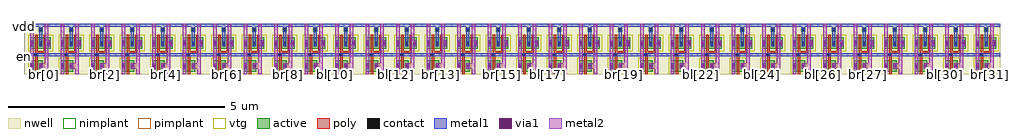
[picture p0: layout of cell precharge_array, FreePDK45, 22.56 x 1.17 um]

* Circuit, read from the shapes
.subckt precharge_array bl[0] bl[10] bl[11] bl[12] bl[13] bl[14] bl[15] bl[16] bl[17] bl[18] bl[19] bl[1] bl[20] bl[21] bl[22] bl[23] bl[24] bl[25] bl[26] bl[27] bl[28] bl[29] bl[2] bl[30] bl[31] bl[3] bl[4] bl[5] bl[6] bl[7] bl[8] bl[9] br[0] br[10] br[11] br[12] br[13] br[14] br[15] br[16] br[17] br[18] br[19] br[1] br[20] br[21] br[22] br[23] br[24] br[25] br[26] br[27] br[28] br[29] br[2] br[30] br[31] br[3] br[4] br[5] br[6] br[7] br[8] br[9] en vdd
M1 br[0] en bl[0] vdd pfet w=0.27u l=0.05u
M2 vdd en bl[0] vdd pfet w=0.27u l=0.05u
M3 br[0] en vdd vdd pfet w=0.27u l=0.05u
M4 br[1] en bl[1] vdd pfet w=0.27u l=0.05u
M5 vdd en bl[1] vdd pfet w=0.27u l=0.05u
M6 br[1] en vdd vdd pfet w=0.27u l=0.05u
M7 br[2] en bl[2] vdd pfet w=0.27u l=0.05u
M8 vdd en bl[2] vdd pfet w=0.27u l=0.05u
M9 br[2] en vdd vdd pfet w=0.27u l=0.05u
M10 br[3] en bl[3] vdd pfet w=0.27u l=0.05u
M11 vdd en bl[3] vdd pfet w=0.27u l=0.05u
M12 br[3] en vdd vdd pfet w=0.27u l=0.05u
M13 br[4] en bl[4] vdd pfet w=0.27u l=0.05u
M14 vdd en bl[4] vdd pfet w=0.27u l=0.05u
M15 br[4] en vdd vdd pfet w=0.27u l=0.05u
M16 br[5] en bl[5] vdd pfet w=0.27u l=0.05u
M17 vdd en bl[5] vdd pfet w=0.27u l=0.05u
M18 br[5] en vdd vdd pfet w=0.27u l=0.05u
M19 br[6] en bl[6] vdd pfet w=0.27u l=0.05u
M20 vdd en bl[6] vdd pfet w=0.27u l=0.05u
M21 br[6] en vdd vdd pfet w=0.27u l=0.05u
M22 br[7] en bl[7] vdd pfet w=0.27u l=0.05u
M23 vdd en bl[7] vdd pfet w=0.27u l=0.05u
M24 br[7] en vdd vdd pfet w=0.27u l=0.05u
M25 br[8] en bl[8] vdd pfet w=0.27u l=0.05u
M26 vdd en bl[8] vdd pfet w=0.27u l=0.05u
M27 br[8] en vdd vdd pfet w=0.27u l=0.05u
M28 br[9] en bl[9] vdd pfet w=0.27u l=0.05u
M29 vdd en bl[9] vdd pfet w=0.27u l=0.05u
M30 br[9] en vdd vdd pfet w=0.27u l=0.05u
M31 br[10] en bl[10] vdd pfet w=0.27u l=0.05u
M32 vdd en bl[10] vdd pfet w=0.27u l=0.05u
M33 br[10] en vdd vdd pfet w=0.27u l=0.05u
M34 br[11] en bl[11] vdd pfet w=0.27u l=0.05u
M35 vdd en bl[11] vdd pfet w=0.27u l=0.05u
M36 br[11] en vdd vdd pfet w=0.27u l=0.05u
M37 br[12] en bl[12] vdd pfet w=0.27u l=0.05u
M38 vdd en bl[12] vdd pfet w=0.27u l=0.05u
M39 br[12] en vdd vdd pfet w=0.27u l=0.05u
M40 br[13] en bl[13] vdd pfet w=0.27u l=0.05u
M41 vdd en bl[13] vdd pfet w=0.27u l=0.05u
M42 br[13] en vdd vdd pfet w=0.27u l=0.05u
M43 br[14] en bl[14] vdd pfet w=0.27u l=0.05u
M44 vdd en bl[14] vdd pfet w=0.27u l=0.05u
M45 br[14] en vdd vdd pfet w=0.27u l=0.05u
M46 br[15] en bl[15] vdd pfet w=0.27u l=0.05u
M47 vdd en bl[15] vdd pfet w=0.27u l=0.05u
M48 br[15] en vdd vdd pfet w=0.27u l=0.05u
M49 br[16] en bl[16] vdd pfet w=0.27u l=0.05u
M50 vdd en bl[16] vdd pfet w=0.27u l=0.05u
M51 br[16] en vdd vdd pfet w=0.27u l=0.05u
M52 br[17] en bl[17] vdd pfet w=0.27u l=0.05u
M53 vdd en bl[17] vdd pfet w=0.27u l=0.05u
M54 br[17] en vdd vdd pfet w=0.27u l=0.05u
M55 br[18] en bl[18] vdd pfet w=0.27u l=0.05u
M56 vdd en bl[18] vdd pfet w=0.27u l=0.05u
M57 br[18] en vdd vdd pfet w=0.27u l=0.05u
M58 br[19] en bl[19] vdd pfet w=0.27u l=0.05u
M59 vdd en bl[19] vdd pfet w=0.27u l=0.05u
M60 br[19] en vdd vdd pfet w=0.27u l=0.05u
M61 br[20] en bl[20] vdd pfet w=0.27u l=0.05u
M62 vdd en bl[20] vdd pfet w=0.27u l=0.05u
M63 br[20] en vdd vdd pfet w=0.27u l=0.05u
M64 br[21] en bl[21] vdd pfet w=0.27u l=0.05u
M65 vdd en bl[21] vdd pfet w=0.27u l=0.05u
M66 br[21] en vdd vdd pfet w=0.27u l=0.05u
M67 br[22] en bl[22] vdd pfet w=0.27u l=0.05u
M68 vdd en bl[22] vdd pfet w=0.27u l=0.05u
M69 br[22] en vdd vdd pfet w=0.27u l=0.05u
M70 br[23] en bl[23] vdd pfet w=0.27u l=0.05u
M71 vdd en bl[23] vdd pfet w=0.27u l=0.05u
M72 br[23] en vdd vdd pfet w=0.27u l=0.05u
M73 br[24] en bl[24] vdd pfet w=0.27u l=0.05u
M74 vdd en bl[24] vdd pfet w=0.27u l=0.05u
M75 br[24] en vdd vdd pfet w=0.27u l=0.05u
M76 br[25] en bl[25] vdd pfet w=0.27u l=0.05u
M77 vdd en bl[25] vdd pfet w=0.27u l=0.05u
M78 br[25] en vdd vdd pfet w=0.27u l=0.05u
M79 br[26] en bl[26] vdd pfet w=0.27u l=0.05u
M80 vdd en bl[26] vdd pfet w=0.27u l=0.05u
M81 br[26] en vdd vdd pfet w=0.27u l=0.05u
M82 br[27] en bl[27] vdd pfet w=0.27u l=0.05u
M83 vdd en bl[27] vdd pfet w=0.27u l=0.05u
M84 br[27] en vdd vdd pfet w=0.27u l=0.05u
M85 br[28] en bl[28] vdd pfet w=0.27u l=0.05u
M86 vdd en bl[28] vdd pfet w=0.27u l=0.05u
M87 br[28] en vdd vdd pfet w=0.27u l=0.05u
M88 br[29] en bl[29] vdd pfet w=0.27u l=0.05u
M89 vdd en bl[29] vdd pfet w=0.27u l=0.05u
M90 br[29] en vdd vdd pfet w=0.27u l=0.05u
M91 br[30] en bl[30] vdd pfet w=0.27u l=0.05u
M92 vdd en bl[30] vdd pfet w=0.27u l=0.05u
M93 br[30] en vdd vdd pfet w=0.27u l=0.05u
M94 br[31] en bl[31] vdd pfet w=0.27u l=0.05u
M95 vdd en bl[31] vdd pfet w=0.27u l=0.05u
M96 br[31] en vdd vdd pfet w=0.27u l=0.05u
.ends

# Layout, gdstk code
from math import pi, radians
import gdstk
lib = gdstk.Library(unit=1e-6, precision=5e-10)
def R(c, l, rs):  # rectangles x0, y0, x1, y1
    for r in rs: c.add(gdstk.rectangle(r[:2], r[2:], *l))
active = (1, 0)
nwell = (3, 0)
nimplant = (4, 0)
pimplant = (5, 0)
vtg = (6, 0)
poly = (9, 0)
contact = (10, 0)
metal1 = (11, 0)
via1 = (12, 0)
metal2 = (13, 0)

active_contact_metal1_1x = lib.new_cell('active_contact_metal1_1x1_pn')
R(active_contact_metal1_1x, active, [(0,0.0225,0.09,0.1125), (0,0.0225,0.09,0.1125)])
R(active_contact_metal1_1x, nwell, [(-0.055,-0.0325,0.145,0.1675), (-0.055,-0.0325,0.145,0.1675)])
R(active_contact_metal1_1x, pimplant, [(0,0.0225,0.09,0.1125), (0,0.0225,0.09,0.1125)])
R(active_contact_metal1_1x, contact, [(0.0125,0.035,0.0775,0.1), (0.0125,0.035,0.0775,0.1)])
R(active_contact_metal1_1x, metal1, [(0.0125,0,0.0775,0.135), (0.0125,0,0.0775,0.135)])

pmos_m1_w0_27 = lib.new_cell('pmos_m1_w0_27')
R(pmos_m1_w0_27, active, [(0,0,0.28,0.27), (0,0,0.28,0.27)])
R(pmos_m1_w0_27, nwell, [(-0.055,-0.055,0.335,0.325), (-0.055,-0.055,0.335,0.325)])
R(pmos_m1_w0_27, pimplant, [(0,0,0.28,0.27), (0,0,0.28,0.27)])
R(pmos_m1_w0_27, vtg, [(-0.055,-0.055,0.335,0.325), (-0.055,-0.055,0.335,0.325)])
R(pmos_m1_w0_27, poly, [(0.115,-0.055,0.165,0.325), (0.115,-0.055,0.165,0.325), (0.115,-0.055,0.165,0.325), (0.115,-0.055,0.165,0.325)])
R(pmos_m1_w0_27, metal1, [(0.0125,0.0675,0.0775,0.2025), (0.0125,0.0675,0.0775,0.2025), (0.2025,0.0675,0.2675,0.2025), (0.2025,0.0675,0.2675,0.2025)])
pmos_m1_w0_27.add(gdstk.Reference(active_contact_metal1_1x, (0,0.0675)))
pmos_m1_w0_27.add(gdstk.Reference(active_contact_metal1_1x, (0.19,0.0675)))
pmos_m1_w0_27.add(gdstk.Reference(active_contact_metal1_1x, (0,0.0675)))
pmos_m1_w0_27.add(gdstk.Reference(active_contact_metal1_1x, (0.19,0.0675)))
pmos_m1_w0_27.add(gdstk.Label('S', (0.0125,0.0675), layer=11, texttype=0))
pmos_m1_w0_27.add(gdstk.Label('D', (0.2025,0.0675), layer=11, texttype=0))
pmos_m1_w0_27.add(gdstk.Label('G', (0.115,-0.055), layer=9, texttype=0))
pmos_m1_w0_27.add(gdstk.Label('S', (0.0125,0.0675), layer=11, texttype=0))
pmos_m1_w0_27.add(gdstk.Label('D', (0.2025,0.0675), layer=11, texttype=0))
pmos_m1_w0_27.add(gdstk.Label('G', (0.115,-0.055), layer=9, texttype=0))

poly_contact_metal1_1x1 = lib.new_cell('poly_contact_metal1_1x1')
R(poly_contact_metal1_1x1, poly, [(0,0.03,0.075,0.105), (0,0.03,0.075,0.105)])
R(poly_contact_metal1_1x1, contact, [(0.005,0.035,0.07,0.1), (0.005,0.035,0.07,0.1)])
R(poly_contact_metal1_1x1, metal1, [(0.005,0,0.07,0.135), (0.005,0,0.07,0.135)])

c_active_contact_metal1_1x = lib.new_cell('active_contact_metal1_1x1_nn')
R(c_active_contact_metal1_1x, active, [(0,0.0225,0.09,0.1125), (0,0.0225,0.09,0.1125)])
R(c_active_contact_metal1_1x, nwell, [(-0.055,-0.0325,0.145,0.1675), (-0.055,-0.0325,0.145,0.1675)])
R(c_active_contact_metal1_1x, nimplant, [(0,0.0225,0.09,0.1125), (0,0.0225,0.09,0.1125)])
R(c_active_contact_metal1_1x, contact, [(0.0125,0.035,0.0775,0.1), (0.0125,0.035,0.0775,0.1)])
R(c_active_contact_metal1_1x, metal1, [(0.0125,0,0.0775,0.135), (0.0125,0,0.0775,0.135)])

metal1_via1_metal2_1x1 = lib.new_cell('metal1_via1_metal2_1x1')
R(metal1_via1_metal2_1x1, metal1, [(0.0025,0,0.0675,0.135), (0.0025,0,0.0675,0.135)])
R(metal1_via1_metal2_1x1, via1, [(0.0025,0.035,0.0675,0.1), (0.0025,0.035,0.0675,0.1)])
R(metal1_via1_metal2_1x1, metal2, [(0,0,0.07,0.135), (0,0,0.07,0.135)])

precharge = lib.new_cell('precharge')
R(precharge, nwell, [(0,0,0.705,1.1675), (0,0,0.705,1.1675)])
R(precharge, poly, [(0.265,0,0.315,0.53), (0.265,0,0.315,0.53), (0.265,0.48,0.505,0.53), (0.265,0.48,0.505,0.53)])
R(precharge, metal1, [(0,0.4175,0.705,0.4825), (0,0.4175,0.705,0.4825), (0.3525,0.6525,0.4175,1.1675), (0.3525,0.6525,0.4175,1.1675), (0,1.1025,0.705,1.1675), (0,1.1025,0.705,1.1675)])
R(precharge, metal2, [(0.15,0,0.22,1.1675), (0.15,0,0.22,1.1675), (0.485,0,0.555,1.1675), (0.485,0,0.555,1.1675), (0.15,0.1225,0.2275,0.2575), (0.15,0.1225,0.2275,0.2575), (0.3525,0.1225,0.555,0.2575), (0.3525,0.1225,0.555,0.2575), (0.15,0.6525,0.2275,0.7875), (0.15,0.6525,0.2275,0.7875), (0.485,0.6525,0.6075,0.7875), (0.485,0.6525,0.6075,0.7875)])
precharge.add(gdstk.Reference(pmos_m1_w0_27, (0.15,0.055)))
precharge.add(gdstk.Reference(pmos_m1_w0_27, (0.15,0.585)))
precharge.add(gdstk.Reference(pmos_m1_w0_27, (0.34,0.585)))
precharge.add(gdstk.Reference(poly_contact_metal1_1x1, (0.3325,0.4125), rotation=pi/2))
precharge.add(gdstk.Reference(c_active_contact_metal1_1x, (0.34,0.965)))
precharge.add(gdstk.Reference(metal1_via1_metal2_1x1, (0.16,0.1225)))
precharge.add(gdstk.Reference(metal1_via1_metal2_1x1, (0.35,0.1225)))
precharge.add(gdstk.Reference(metal1_via1_metal2_1x1, (0.16,0.6525)))
precharge.add(gdstk.Reference(metal1_via1_metal2_1x1, (0.54,0.6525)))
precharge.add(gdstk.Reference(pmos_m1_w0_27, (0.15,0.055)))
precharge.add(gdstk.Reference(pmos_m1_w0_27, (0.15,0.585)))
precharge.add(gdstk.Reference(pmos_m1_w0_27, (0.34,0.585)))
precharge.add(gdstk.Reference(poly_contact_metal1_1x1, (0.3325,0.4125), rotation=pi/2))
precharge.add(gdstk.Reference(c_active_contact_metal1_1x, (0.34,0.965)))
precharge.add(gdstk.Reference(metal1_via1_metal2_1x1, (0.16,0.1225)))
precharge.add(gdstk.Reference(metal1_via1_metal2_1x1, (0.35,0.1225)))
precharge.add(gdstk.Reference(metal1_via1_metal2_1x1, (0.16,0.6525)))
precharge.add(gdstk.Reference(metal1_via1_metal2_1x1, (0.54,0.6525)))
precharge.add(gdstk.Label('bl', (0.15,0), layer=13, texttype=0))
precharge.add(gdstk.Label('en', (0,0.4175), layer=11, texttype=0))
precharge.add(gdstk.Label('vdd', (0,1.1025), layer=11, texttype=0))
precharge.add(gdstk.Label('br', (0.485,0), layer=13, texttype=0))
precharge.add(gdstk.Label('bl', (0.15,0), layer=13, texttype=0))
precharge.add(gdstk.Label('en', (0,0.4175), layer=11, texttype=0))
precharge.add(gdstk.Label('vdd', (0,1.1025), layer=11, texttype=0))
precharge.add(gdstk.Label('br', (0.485,0), layer=13, texttype=0))

precharge_array = lib.new_cell('precharge_array')
R(precharge_array, metal1, [(0,0.4175,22.56,0.4825), (0,0.4175,22.56,0.4825), (0,1.1025,22.56,1.1675), (0,1.1025,22.56,1.1675)])
R(precharge_array, metal2, [(0.15,0,0.22,1.1675), (0.15,0,0.22,1.1675), (0.485,0,0.555,1.1675), (0.485,0,0.555,1.1675), (0.855,0,0.925,1.1675), (0.855,0,0.925,1.1675), (1.19,0,1.26,1.1675), (1.19,0,1.26,1.1675), (1.56,0,1.63,1.1675), (1.56,0,1.63,1.1675), (1.895,0,1.965,1.1675), (1.895,0,1.965,1.1675), (2.265,0,2.335,1.1675), (2.265,0,2.335,1.1675), (2.6,0,2.67,1.1675), (2.6,0,2.67,1.1675), (2.97,0,3.04,1.1675), (2.97,0,3.04,1.1675), (3.305,0,3.375,1.1675), (3.305,0,3.375,1.1675), (3.675,0,3.745,1.1675), (3.675,0,3.745,1.1675), (4.01,0,4.08,1.1675), (4.01,0,4.08,1.1675), (4.38,0,4.45,1.1675), (4.38,0,4.45,1.1675), (4.715,0,4.785,1.1675), (4.715,0,4.785,1.1675), (5.085,0,5.155,1.1675), (5.085,0,5.155,1.1675), (5.42,0,5.49,1.1675), (5.42,0,5.49,1.1675), (5.79,0,5.86,1.1675), (5.79,0,5.86,1.1675), (6.125,0,6.195,1.1675), (6.125,0,6.195,1.1675), (6.495,0,6.565,1.1675), (6.495,0,6.565,1.1675), (6.83,0,6.9,1.1675), (6.83,0,6.9,1.1675), (7.2,0,7.27,1.1675), (7.2,0,7.27,1.1675), (7.535,0,7.605,1.1675), (7.535,0,7.605,1.1675), (7.905,0,7.975,1.1675), (7.905,0,7.975,1.1675), (8.24,0,8.31,1.1675), (8.24,0,8.31,1.1675), (8.61,0,8.68,1.1675), (8.61,0,8.68,1.1675), (8.945,0,9.015,1.1675), (8.945,0,9.015,1.1675), (9.315,0,9.385,1.1675), (9.315,0,9.385,1.1675), (9.65,0,9.72,1.1675), (9.65,0,9.72,1.1675), (10.02,0,10.09,1.1675), (10.02,0,10.09,1.1675), (10.355,0,10.425,1.1675), (10.355,0,10.425,1.1675), (10.725,0,10.795,1.1675), (10.725,0,10.795,1.1675), (11.06,0,11.13,1.1675), (11.06,0,11.13,1.1675), (11.43,0,11.5,1.1675), (11.43,0,11.5,1.1675), (11.765,0,11.835,1.1675), (11.765,0,11.835,1.1675), (12.135,0,12.205,1.1675), (12.135,0,12.205,1.1675), (12.47,0,12.54,1.1675), (12.47,0,12.54,1.1675), (12.84,0,12.91,1.1675), (12.84,0,12.91,1.1675), (13.175,0,13.245,1.1675), (13.175,0,13.245,1.1675), (13.545,0,13.615,1.1675), (13.545,0,13.615,1.1675), (13.88,0,13.95,1.1675), (13.88,0,13.95,1.1675), (14.25,0,14.32,1.1675), (14.25,0,14.32,1.1675), (14.585,0,14.655,1.1675), (14.585,0,14.655,1.1675), (14.955,0,15.025,1.1675), (14.955,0,15.025,1.1675), (15.29,0,15.36,1.1675), (15.29,0,15.36,1.1675), (15.66,0,15.73,1.1675), (15.66,0,15.73,1.1675), (15.995,0,16.065,1.1675), (15.995,0,16.065,1.1675), (16.365,0,16.435,1.1675), (16.365,0,16.435,1.1675), (16.7,0,16.77,1.1675), (16.7,0,16.77,1.1675), (17.07,0,17.14,1.1675), (17.07,0,17.14,1.1675), (17.405,0,17.475,1.1675), (17.405,0,17.475,1.1675), (17.775,0,17.845,1.1675), (17.775,0,17.845,1.1675), (18.11,0,18.18,1.1675), (18.11,0,18.18,1.1675), (18.48,0,18.55,1.1675), (18.48,0,18.55,1.1675), (18.815,0,18.885,1.1675), (18.815,0,18.885,1.1675), (19.185,0,19.255,1.1675), (19.185,0,19.255,1.1675), (19.52,0,19.59,1.1675), (19.52,0,19.59,1.1675), (19.89,0,19.96,1.1675), (19.89,0,19.96,1.1675), (20.225,0,20.295,1.1675), (20.225,0,20.295,1.1675), (20.595,0,20.665,1.1675), (20.595,0,20.665,1.1675), (20.93,0,21,1.1675), (20.93,0,21,1.1675), (21.3,0,21.37,1.1675), (21.3,0,21.37,1.1675), (21.635,0,21.705,1.1675), (21.635,0,21.705,1.1675), (22.005,0,22.075,1.1675), (22.005,0,22.075,1.1675), (22.34,0,22.41,1.1675), (22.34,0,22.41,1.1675)])
precharge_array.add(gdstk.Reference(precharge, (0,0)))
precharge_array.add(gdstk.Reference(precharge, (0.705,0)))
precharge_array.add(gdstk.Reference(precharge, (1.41,0)))
precharge_array.add(gdstk.Reference(precharge, (2.115,0)))
precharge_array.add(gdstk.Reference(precharge, (2.82,0)))
precharge_array.add(gdstk.Reference(precharge, (3.525,0)))
precharge_array.add(gdstk.Reference(precharge, (4.23,0)))
precharge_array.add(gdstk.Reference(precharge, (4.935,0)))
precharge_array.add(gdstk.Reference(precharge, (5.64,0)))
precharge_array.add(gdstk.Reference(precharge, (6.345,0)))
precharge_array.add(gdstk.Reference(precharge, (7.05,0)))
precharge_array.add(gdstk.Reference(precharge, (7.755,0)))
precharge_array.add(gdstk.Reference(precharge, (8.46,0)))
precharge_array.add(gdstk.Reference(precharge, (9.165,0)))
precharge_array.add(gdstk.Reference(precharge, (9.87,0)))
precharge_array.add(gdstk.Reference(precharge, (10.575,0)))
precharge_array.add(gdstk.Reference(precharge, (11.28,0)))
precharge_array.add(gdstk.Reference(precharge, (11.985,0)))
precharge_array.add(gdstk.Reference(precharge, (12.69,0)))
precharge_array.add(gdstk.Reference(precharge, (13.395,0)))
precharge_array.add(gdstk.Reference(precharge, (14.1,0)))
precharge_array.add(gdstk.Reference(precharge, (14.805,0)))
precharge_array.add(gdstk.Reference(precharge, (15.51,0)))
precharge_array.add(gdstk.Reference(precharge, (16.215,0)))
precharge_array.add(gdstk.Reference(precharge, (16.92,0)))
precharge_array.add(gdstk.Reference(precharge, (17.625,0)))
precharge_array.add(gdstk.Reference(precharge, (18.33,0)))
precharge_array.add(gdstk.Reference(precharge, (19.035,0)))
precharge_array.add(gdstk.Reference(precharge, (19.74,0)))
precharge_array.add(gdstk.Reference(precharge, (20.445,0)))
precharge_array.add(gdstk.Reference(precharge, (21.15,0)))
precharge_array.add(gdstk.Reference(precharge, (21.855,0)))
precharge_array.add(gdstk.Reference(precharge, (0,0)))
precharge_array.add(gdstk.Reference(precharge, (0.705,0)))
precharge_array.add(gdstk.Reference(precharge, (1.41,0)))
precharge_array.add(gdstk.Reference(precharge, (2.115,0)))
precharge_array.add(gdstk.Reference(precharge, (2.82,0)))
precharge_array.add(gdstk.Reference(precharge, (3.525,0)))
precharge_array.add(gdstk.Reference(precharge, (4.23,0)))
precharge_array.add(gdstk.Reference(precharge, (4.935,0)))
precharge_array.add(gdstk.Reference(precharge, (5.64,0)))
precharge_array.add(gdstk.Reference(precharge, (6.345,0)))
precharge_array.add(gdstk.Reference(precharge, (7.05,0)))
precharge_array.add(gdstk.Reference(precharge, (7.755,0)))
precharge_array.add(gdstk.Reference(precharge, (8.46,0)))
precharge_array.add(gdstk.Reference(precharge, (9.165,0)))
precharge_array.add(gdstk.Reference(precharge, (9.87,0)))
precharge_array.add(gdstk.Reference(precharge, (10.575,0)))
precharge_array.add(gdstk.Reference(precharge, (11.28,0)))
precharge_array.add(gdstk.Reference(precharge, (11.985,0)))
precharge_array.add(gdstk.Reference(precharge, (12.69,0)))
precharge_array.add(gdstk.Reference(precharge, (13.395,0)))
precharge_array.add(gdstk.Reference(precharge, (14.1,0)))
precharge_array.add(gdstk.Reference(precharge, (14.805,0)))
precharge_array.add(gdstk.Reference(precharge, (15.51,0)))
precharge_array.add(gdstk.Reference(precharge, (16.215,0)))
precharge_array.add(gdstk.Reference(precharge, (16.92,0)))
precharge_array.add(gdstk.Reference(precharge, (17.625,0)))
precharge_array.add(gdstk.Reference(precharge, (18.33,0)))
precharge_array.add(gdstk.Reference(precharge, (19.035,0)))
precharge_array.add(gdstk.Reference(precharge, (19.74,0)))
precharge_array.add(gdstk.Reference(precharge, (20.445,0)))
precharge_array.add(gdstk.Reference(precharge, (21.15,0)))
precharge_array.add(gdstk.Reference(precharge, (21.855,0)))
precharge_array.add(gdstk.Label('bl[12]', (8.61,0), layer=13, texttype=0))
precharge_array.add(gdstk.Label('br[19]', (13.88,0), layer=13, texttype=0))
precharge_array.add(gdstk.Label('bl[10]', (7.2,0), layer=13, texttype=0))
precharge_array.add(gdstk.Label('bl[17]', (12.135,0), layer=13, texttype=0))
precharge_array.add(gdstk.Label('br[11]', (8.24,0), layer=13, texttype=0))
precharge_array.add(gdstk.Label('bl[30]', (21.3,0), layer=13, texttype=0))
precharge_array.add(gdstk.Label('br[2]', (1.895,0), layer=13, texttype=0))
precharge_array.add(gdstk.Label('bl[20]', (14.25,0), layer=13, texttype=0))
precharge_array.add(gdstk.Label('br[6]', (4.715,0), layer=13, texttype=0))
precharge_array.add(gdstk.Label('bl[24]', (17.07,0), layer=13, texttype=0))
precharge_array.add(gdstk.Label('en', (0,0.4175), layer=11, texttype=0))
precharge_array.add(gdstk.Label('bl[22]', (15.66,0), layer=13, texttype=0))
precharge_array.add(gdstk.Label('br[0]', (0.485,0), layer=13, texttype=0))
precharge_array.add(gdstk.Label('bl[26]', (18.48,0), layer=13, texttype=0))
precharge_array.add(gdstk.Label('bl[2]', (1.56,0), layer=13, texttype=0))
precharge_array.add(gdstk.Label('bl[18]', (12.84,0), layer=13, texttype=0))
precharge_array.add(gdstk.Label('br[29]', (20.93,0), layer=13, texttype=0))
precharge_array.add(gdstk.Label('br[15]', (11.06,0), layer=13, texttype=0))
precharge_array.add(gdstk.Label('bl[1]', (0.855,0), layer=13, texttype=0))
precharge_array.add(gdstk.Label('br[4]', (3.305,0), layer=13, texttype=0))
precharge_array.add(gdstk.Label('br[13]', (9.65,0), layer=13, texttype=0))
precharge_array.add(gdstk.Label('br[27]', (19.52,0), layer=13, texttype=0))
precharge_array.add(gdstk.Label('br[17]', (12.47,0), layer=13, texttype=0))
precharge_array.add(gdstk.Label('bl[3]', (2.265,0), layer=13, texttype=0))
precharge_array.add(gdstk.Label('br[22]', (15.995,0), layer=13, texttype=0))
precharge_array.add(gdstk.Label('bl[7]', (5.085,0), layer=13, texttype=0))
precharge_array.add(gdstk.Label('bl[14]', (10.02,0), layer=13, texttype=0))
precharge_array.add(gdstk.Label('br[26]', (18.815,0), layer=13, texttype=0))
precharge_array.add(gdstk.Label('br[14]', (10.355,0), layer=13, texttype=0))
precharge_array.add(gdstk.Label('br[20]', (14.585,0), layer=13, texttype=0))
precharge_array.add(gdstk.Label('bl[5]', (3.675,0), layer=13, texttype=0))
precharge_array.add(gdstk.Label('br[24]', (17.405,0), layer=13, texttype=0))
precharge_array.add(gdstk.Label('bl[9]', (6.495,0), layer=13, texttype=0))
precharge_array.add(gdstk.Label('br[30]', (21.635,0), layer=13, texttype=0))
precharge_array.add(gdstk.Label('br[8]', (6.125,0), layer=13, texttype=0))
precharge_array.add(gdstk.Label('bl[13]', (9.315,0), layer=13, texttype=0))
precharge_array.add(gdstk.Label('bl[28]', (19.89,0), layer=13, texttype=0))
precharge_array.add(gdstk.Label('br[18]', (13.175,0), layer=13, texttype=0))
precharge_array.add(gdstk.Label('bl[21]', (14.955,0), layer=13, texttype=0))
precharge_array.add(gdstk.Label('br[3]', (2.6,0), layer=13, texttype=0))
precharge_array.add(gdstk.Label('bl[19]', (13.545,0), layer=13, texttype=0))
precharge_array.add(gdstk.Label('br[1]', (1.19,0), layer=13, texttype=0))
precharge_array.add(gdstk.Label('bl[23]', (16.365,0), layer=13, texttype=0))
precharge_array.add(gdstk.Label('br[5]', (4.01,0), layer=13, texttype=0))
precharge_array.add(gdstk.Label('bl[27]', (19.185,0), layer=13, texttype=0))
precharge_array.add(gdstk.Label('br[28]', (20.225,0), layer=13, texttype=0))
precharge_array.add(gdstk.Label('bl[25]', (17.775,0), layer=13, texttype=0))
precharge_array.add(gdstk.Label('br[7]', (5.42,0), layer=13, texttype=0))
precharge_array.add(gdstk.Label('br[12]', (8.945,0), layer=13, texttype=0))
precharge_array.add(gdstk.Label('br[25]', (18.11,0), layer=13, texttype=0))
precharge_array.add(gdstk.Label('bl[0]', (0.15,0), layer=13, texttype=0))
precharge_array.add(gdstk.Label('br[23]', (16.7,0), layer=13, texttype=0))
precharge_array.add(gdstk.Label('bl[4]', (2.97,0), layer=13, texttype=0))
precharge_array.add(gdstk.Label('br[10]', (7.535,0), layer=13, texttype=0))
precharge_array.add(gdstk.Label('bl[29]', (20.595,0), layer=13, texttype=0))
precharge_array.add(gdstk.Label('br[31]', (22.34,0), layer=13, texttype=0))
precharge_array.add(gdstk.Label('bl[6]', (4.38,0), layer=13, texttype=0))
precharge_array.add(gdstk.Label('br[16]', (11.765,0), layer=13, texttype=0))
precharge_array.add(gdstk.Label('bl[15]', (10.725,0), layer=13, texttype=0))
precharge_array.add(gdstk.Label('br[21]', (15.29,0), layer=13, texttype=0))
precharge_array.add(gdstk.Label('vdd', (0,1.1025), layer=11, texttype=0))
precharge_array.add(gdstk.Label('bl[31]', (22.005,0), layer=13, texttype=0))
precharge_array.add(gdstk.Label('bl[11]', (7.905,0), layer=13, texttype=0))
precharge_array.add(gdstk.Label('bl[16]', (11.43,0), layer=13, texttype=0))
precharge_array.add(gdstk.Label('br[9]', (6.83,0), layer=13, texttype=0))
precharge_array.add(gdstk.Label('bl[8]', (5.79,0), layer=13, texttype=0))
precharge_array.add(gdstk.Label('bl[12]', (8.61,0), layer=13, texttype=0))
precharge_array.add(gdstk.Label('br[19]', (13.88,0), layer=13, texttype=0))
precharge_array.add(gdstk.Label('bl[10]', (7.2,0), layer=13, texttype=0))
precharge_array.add(gdstk.Label('bl[17]', (12.135,0), layer=13, texttype=0))
precharge_array.add(gdstk.Label('br[11]', (8.24,0), layer=13, texttype=0))
precharge_array.add(gdstk.Label('bl[30]', (21.3,0), layer=13, texttype=0))
precharge_array.add(gdstk.Label('br[2]', (1.895,0), layer=13, texttype=0))
precharge_array.add(gdstk.Label('bl[20]', (14.25,0), layer=13, texttype=0))
precharge_array.add(gdstk.Label('br[6]', (4.715,0), layer=13, texttype=0))
precharge_array.add(gdstk.Label('bl[24]', (17.07,0), layer=13, texttype=0))
precharge_array.add(gdstk.Label('en', (0,0.4175), layer=11, texttype=0))
precharge_array.add(gdstk.Label('bl[22]', (15.66,0), layer=13, texttype=0))
precharge_array.add(gdstk.Label('br[0]', (0.485,0), layer=13, texttype=0))
precharge_array.add(gdstk.Label('bl[26]', (18.48,0), layer=13, texttype=0))
precharge_array.add(gdstk.Label('bl[2]', (1.56,0), layer=13, texttype=0))
precharge_array.add(gdstk.Label('bl[18]', (12.84,0), layer=13, texttype=0))
precharge_array.add(gdstk.Label('br[29]', (20.93,0), layer=13, texttype=0))
precharge_array.add(gdstk.Label('br[15]', (11.06,0), layer=13, texttype=0))
precharge_array.add(gdstk.Label('bl[1]', (0.855,0), layer=13, texttype=0))
precharge_array.add(gdstk.Label('br[4]', (3.305,0), layer=13, texttype=0))
precharge_array.add(gdstk.Label('br[13]', (9.65,0), layer=13, texttype=0))
precharge_array.add(gdstk.Label('br[27]', (19.52,0), layer=13, texttype=0))
precharge_array.add(gdstk.Label('br[17]', (12.47,0), layer=13, texttype=0))
precharge_array.add(gdstk.Label('bl[3]', (2.265,0), layer=13, texttype=0))
precharge_array.add(gdstk.Label('br[22]', (15.995,0), layer=13, texttype=0))
precharge_array.add(gdstk.Label('bl[7]', (5.085,0), layer=13, texttype=0))
precharge_array.add(gdstk.Label('bl[14]', (10.02,0), layer=13, texttype=0))
precharge_array.add(gdstk.Label('br[26]', (18.815,0), layer=13, texttype=0))
precharge_array.add(gdstk.Label('br[14]', (10.355,0), layer=13, texttype=0))
precharge_array.add(gdstk.Label('br[20]', (14.585,0), layer=13, texttype=0))
precharge_array.add(gdstk.Label('bl[5]', (3.675,0), layer=13, texttype=0))
precharge_array.add(gdstk.Label('br[24]', (17.405,0), layer=13, texttype=0))
precharge_array.add(gdstk.Label('bl[9]', (6.495,0), layer=13, texttype=0))
precharge_array.add(gdstk.Label('br[30]', (21.635,0), layer=13, texttype=0))
precharge_array.add(gdstk.Label('br[8]', (6.125,0), layer=13, texttype=0))
precharge_array.add(gdstk.Label('bl[13]', (9.315,0), layer=13, texttype=0))
precharge_array.add(gdstk.Label('bl[28]', (19.89,0), layer=13, texttype=0))
precharge_array.add(gdstk.Label('br[18]', (13.175,0), layer=13, texttype=0))
precharge_array.add(gdstk.Label('bl[21]', (14.955,0), layer=13, texttype=0))
precharge_array.add(gdstk.Label('br[3]', (2.6,0), layer=13, texttype=0))
precharge_array.add(gdstk.Label('bl[19]', (13.545,0), layer=13, texttype=0))
precharge_array.add(gdstk.Label('br[1]', (1.19,0), layer=13, texttype=0))
precharge_array.add(gdstk.Label('bl[23]', (16.365,0), layer=13, texttype=0))
precharge_array.add(gdstk.Label('br[5]', (4.01,0), layer=13, texttype=0))
precharge_array.add(gdstk.Label('bl[27]', (19.185,0), layer=13, texttype=0))
precharge_array.add(gdstk.Label('br[28]', (20.225,0), layer=13, texttype=0))
precharge_array.add(gdstk.Label('bl[25]', (17.775,0), layer=13, texttype=0))
precharge_array.add(gdstk.Label('br[7]', (5.42,0), layer=13, texttype=0))
precharge_array.add(gdstk.Label('br[12]', (8.945,0), layer=13, texttype=0))
precharge_array.add(gdstk.Label('br[25]', (18.11,0), layer=13, texttype=0))
precharge_array.add(gdstk.Label('bl[0]', (0.15,0), layer=13, texttype=0))
precharge_array.add(gdstk.Label('br[23]', (16.7,0), layer=13, texttype=0))
precharge_array.add(gdstk.Label('bl[4]', (2.97,0), layer=13, texttype=0))
precharge_array.add(gdstk.Label('br[10]', (7.535,0), layer=13, texttype=0))
precharge_array.add(gdstk.Label('bl[29]', (20.595,0), layer=13, texttype=0))
precharge_array.add(gdstk.Label('br[31]', (22.34,0), layer=13, texttype=0))
precharge_array.add(gdstk.Label('bl[6]', (4.38,0), layer=13, texttype=0))
precharge_array.add(gdstk.Label('br[16]', (11.765,0), layer=13, texttype=0))
precharge_array.add(gdstk.Label('bl[15]', (10.725,0), layer=13, texttype=0))
precharge_array.add(gdstk.Label('br[21]', (15.29,0), layer=13, texttype=0))
precharge_array.add(gdstk.Label('vdd', (0,1.1025), layer=11, texttype=0))
precharge_array.add(gdstk.Label('bl[31]', (22.005,0), layer=13, texttype=0))
precharge_array.add(gdstk.Label('bl[11]', (7.905,0), layer=13, texttype=0))
precharge_array.add(gdstk.Label('bl[16]', (11.43,0), layer=13, texttype=0))
precharge_array.add(gdstk.Label('br[9]', (6.83,0), layer=13, texttype=0))
precharge_array.add(gdstk.Label('bl[8]', (5.79,0), layer=13, texttype=0))

lib.write_gds('precharge_array.gds')
